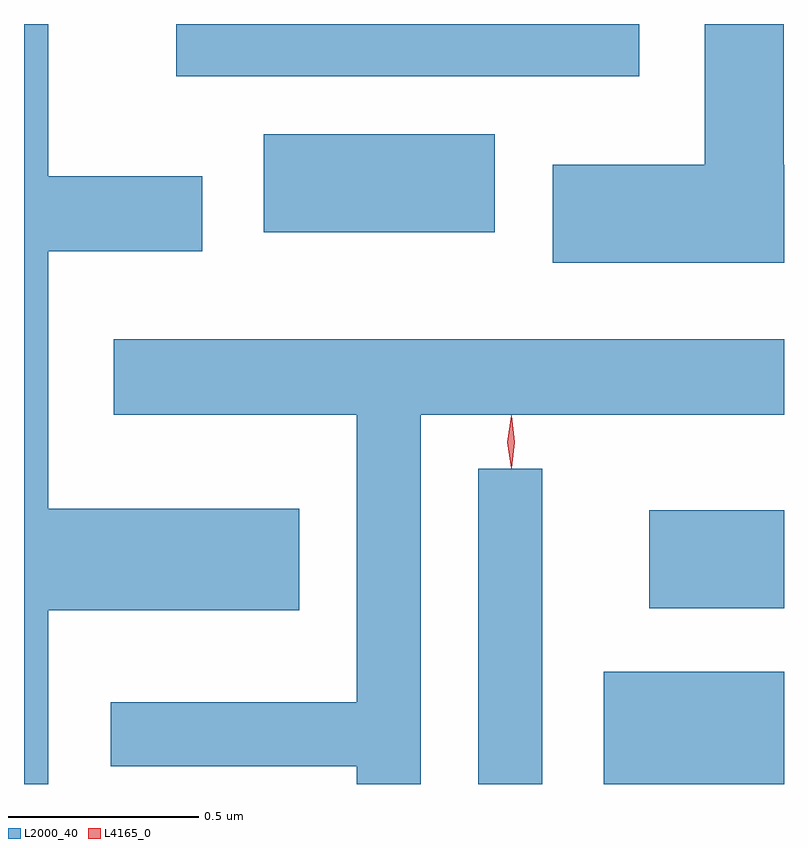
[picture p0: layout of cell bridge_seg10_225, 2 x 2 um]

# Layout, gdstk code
import gdstk
lib = gdstk.Library(unit=1e-6, precision=1e-09)
def R(c, l, rs):  # rectangles x0, y0, x1, y1
    for r in rs: c.add(gdstk.rectangle(r[:2], r[2:], *l))
def P(c, l, *ps):  # polygons
    for p in ps: c.add(gdstk.Polygon(p, *l))
L2000_40 = (2000, 40)
L4165_0 = (4165, 0)

bridge_seg10_225 = lib.new_cell('bridge_seg10_225')
R(bridge_seg10_225, L2000_40, [(1719.681,2141.344,1719.849,2142.173), (1720.011,2141.344,1720.485,2141.639), (1720.131,2141.806,1720.485,2142.064), (1719.116,2142.796,1719.724,2143.054), (1718.886,2143.206,1720.104,2143.344)])
P(bridge_seg10_225, L2000_40, [(1720.485,2142.974),(1720.484,2142.974),(1720.484,2143.344),(1720.276,2143.344),(1720.276,2142.974),(1719.876,2142.974),(1719.876,2142.716),(1720.485,2142.716)],
  [(1719.529,2142.316),(1720.485,2142.316),(1720.485,2142.514),(1718.721,2142.514),(1718.721,2142.316),(1719.361,2142.316),(1719.361,2141.559),(1718.713,2141.559),(1718.713,2141.391),(1719.361,2141.391),(1719.361,2141.344),(1719.529,2141.344)],
  [(1718.954,2142.746),(1718.954,2142.944),(1718.549,2142.944),(1718.549,2143.344),(1718.485,2143.344),(1718.485,2141.344),(1718.549,2141.344),(1718.549,2141.801),(1719.209,2141.801),(1719.209,2142.069),(1718.549,2142.069),(1718.549,2142.746)])
P(bridge_seg10_225, L4165_0, [(1719.767,2142.178),(1719.767,2142.178),(1719.757,2142.244),(1719.767,2142.311),(1719.767,2142.311),(1719.768,2142.311),(1719.777,2142.244),(1719.768,2142.178)],
  [(1719.767,2142.174),(1719.767,2142.175),(1719.757,2142.244),(1719.767,2142.313),(1719.767,2142.314),(1719.768,2142.313),(1719.777,2142.244),(1719.768,2142.175)])

lib.write_gds('bridge_seg10_225.gds')
